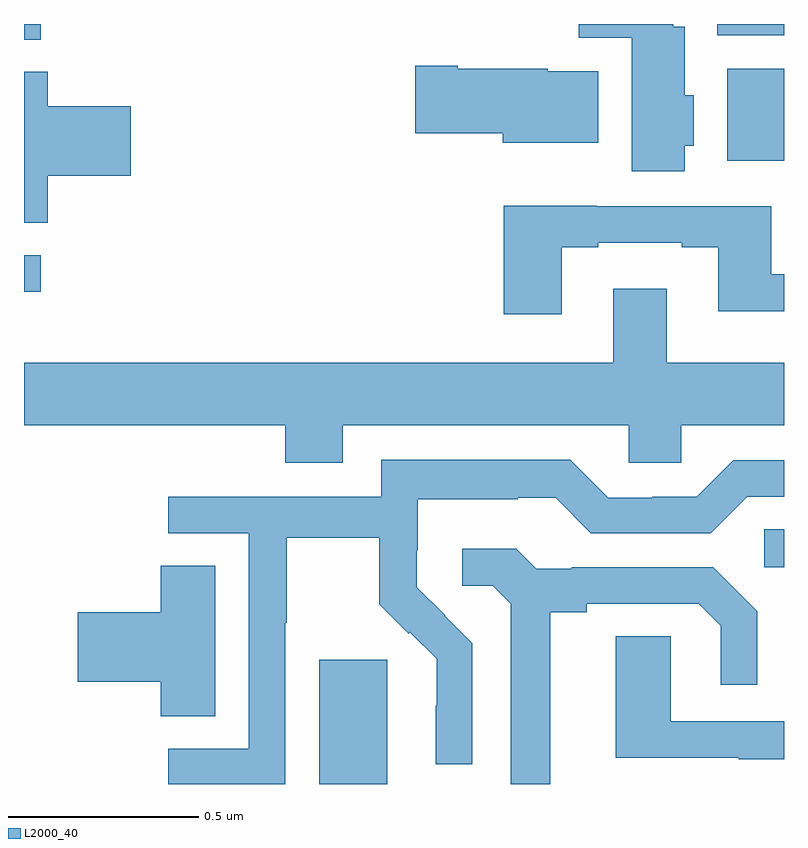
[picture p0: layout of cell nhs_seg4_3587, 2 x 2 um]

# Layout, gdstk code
import gdstk
lib = gdstk.Library(unit=1e-6, precision=1e-09)
def R(c, l, rs):  # rectangles x0, y0, x1, y1
    for r in rs: c.add(gdstk.rectangle(r[:2], r[2:], *l))
def P(c, l, *ps):  # polygons
    for p in ps: c.add(gdstk.Polygon(p, *l))
L2000_40 = (2000, 40)

nhs_seg4_3587 = lib.new_cell('nhs_seg4_3587')
R(nhs_seg4_3587, L2000_40, [(155.777,771.9,155.956,772.227), (156.948,772.47,157,772.571), (155,773.196,155.044,773.292), (156.851,773.54,157,773.782), (155,773.859,155.044,773.9), (156.824,773.87,157,773.9)])
P(nhs_seg4_3587, L2000_40, [(156.739,773.58),(156.763,773.58),(156.763,773.712),(156.739,773.712),(156.739,773.893),(156.709,773.893),(156.709,773.9),(156.46,773.9),(156.46,773.864),(156.599,773.864),(156.599,773.513),(156.739,773.513)],
  [(156.511,773.776),(156.378,773.776),(156.378,773.782),(156.142,773.782),(156.142,773.79),(156.03,773.79),(156.03,773.612),(156.26,773.612),(156.26,773.588),(156.511,773.588)],
  [(155.063,773.501),(155.281,773.501),(155.281,773.684),(155.063,773.684),(155.063,773.774),(155,773.774),(155,773.377),(155.063,773.377)],
  [(156.415,773.313),(156.511,773.313),(156.511,773.325),(156.731,773.325),(156.731,773.313),(156.827,773.313),(156.827,773.144),(157,773.144),(157,773.241),(156.967,773.241),(156.967,773.421),(156.507,773.421),(156.507,773.422),(156.263,773.422),(156.263,773.136),(156.415,773.136)],
  [(155.839,772.844),(156.591,772.844),(156.591,772.746),(156.729,772.746),(156.729,772.844),(157,772.844),(157,773.008),(156.691,773.008),(156.691,773.203),(156.551,773.203),(156.551,773.008),(155,773.008),(155,772.844),(155.687,772.844),(155.687,772.745),(155.839,772.745)],
  [(155.688,772.324),(155.691,772.324),(155.691,772.548),(155.935,772.548),(155.935,772.373),(156.012,772.296),(156.015,772.299),(156.086,772.229),(156.086,772.106),(156.084,772.106),(156.084,771.952),(156.18,771.952),(156.18,772.27),(156.107,772.343),(156.108,772.344),(156.034,772.418),(156.034,772.515),(156.036,772.515),(156.036,772.649),(156.299,772.649),(156.299,772.653),(156.399,772.653),(156.492,772.56),(156.807,772.56),(156.903,772.656),(157,772.656),(157,772.752),(156.867,772.752),(156.771,772.656),(156.653,772.656),(156.653,772.653),(156.537,772.653),(156.437,772.753),(155.94,772.753),(155.94,772.656),(155.379,772.656),(155.379,772.56),(155.592,772.56),(155.592,771.993),(155.379,771.993),(155.379,771.9),(155.688,771.9)],
  [(156.385,772.352),(156.481,772.352),(156.481,772.374),(156.776,772.374),(156.833,772.317),(156.833,772.161),(156.93,772.161),(156.93,772.354),(156.814,772.47),(156.442,772.47),(156.442,772.467),(156.348,772.467),(156.296,772.519),(156.153,772.519),(156.153,772.422),(156.234,772.422),(156.281,772.375),(156.281,771.9),(156.385,771.9)],
  [(155.503,772.475),(155.36,772.475),(155.36,772.352),(155.142,772.352),(155.142,772.169),(155.36,772.169),(155.36,772.078),(155.503,772.078)],
  [(157,772.065),(156.702,772.065),(156.702,772.289),(156.557,772.289),(156.557,771.969),(156.881,771.969),(156.881,771.965),(157,771.965)])

lib.write_gds('nhs_seg4_3587.gds')
